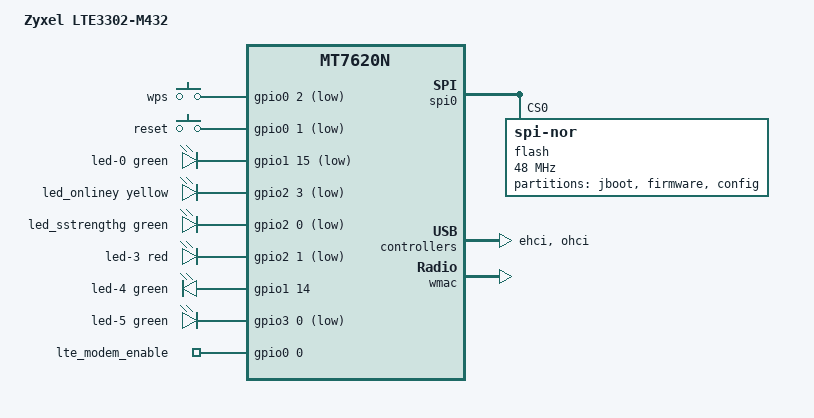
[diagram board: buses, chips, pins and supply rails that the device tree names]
// SPDX-License-Identifier: GPL-2.0-or-later
#include "mt7620n.dtsi"

#include <dt-bindings/gpio/gpio.h>
#include <dt-bindings/input/input.h>
#include <dt-bindings/leds/common.h>
#include <dt-bindings/mtd/partitions/uimage.h>

/ {
	compatible = "zyxel,lte3302", "ralink,mt7620n-soc";
	model = "Zyxel LTE3302-M432";

	aliases {
		led-boot = &led_sstrengthg;
		led-failsafe = &led_onliney;
	};

	keys {
		compatible = "gpio-keys";

		wps {
			label = "wps";
			gpios = <&gpio0 2 GPIO_ACTIVE_LOW>;
			linux,code = <KEY_WPS_BUTTON>;
		};

		reset {
			label = "reset";
			gpios = <&gpio0 1 GPIO_ACTIVE_LOW>;
			linux,code = <KEY_RESTART>;
		};
	};

	leds {
		compatible = "gpio-leds";

		led-0 {
			color = <LED_COLOR_ID_GREEN>;
			function = LED_FUNCTION_WAN_ONLINE;
			gpios = <&gpio1 15 GPIO_ACTIVE_LOW>;
		};

		led_onliney: led-1 {
			color = <LED_COLOR_ID_YELLOW>;
			function = LED_FUNCTION_WAN_ONLINE;
			gpios = <&gpio2 3 GPIO_ACTIVE_LOW>;
		};

		led_sstrengthg: led-2 {
			color = <LED_COLOR_ID_GREEN>;
			function = LED_FUNCTION_MOBILE;
			gpios = <&gpio2 0 GPIO_ACTIVE_LOW>;
		};

		led-3 {
			color = <LED_COLOR_ID_RED>;
			function = LED_FUNCTION_MOBILE;
			gpios = <&gpio2 1 GPIO_ACTIVE_LOW>;
		};

		led-4 {
			color = <LED_COLOR_ID_GREEN>;
			function = LED_FUNCTION_LAN;
			gpios = <&gpio1 14 GPIO_ACTIVE_HIGH>;
		};

		led-5 {
			color = <LED_COLOR_ID_GREEN>;
			function = LED_FUNCTION_WLAN;
			gpios = <&gpio3 0 GPIO_ACTIVE_LOW>;
			linux,default-trigger = "phy0tpt";
		};
	};

	gpio_export {
		compatible = "gpio-export";

		lte_modem_enable {
			gpio-export,name = "lte_modem_enable";
			gpio-export,output = <1>;
			gpios = <&gpio0 0 GPIO_ACTIVE_HIGH>;
		};
	};
};

&gpio1 {
	status = "okay";
};

&gpio2 {
	status = "okay";
};

&gpio3 {
	status = "okay";
};

&spi0 {
	status = "okay";

	flash@0 {
		compatible = "jedec,spi-nor";
		reg = <0>;
		spi-max-frequency = <48000000>;

		partitions {
			compatible = "fixed-partitions";
			#address-cells = <1>;
			#size-cells = <1>;

			partition@0 {
				label = "jboot";
				reg = <0x0 0x10000>;
				read-only;
			};

			partition@10000 {
				compatible = "openwrt,uimage", "denx,uimage";
				openwrt,ih-magic = <IH_MAGIC_OKLI>; 
				openwrt,offset = <0x10000>;
				label = "firmware";
				reg = <0x10000 0xfe0000>;
			};
			
			partition@ff0000 {
				label = "config";
				reg = <0xff0000 0x10000>;
				read-only;
				nvmem-layout {
					compatible = "fixed-layout";
					#address-cells = <1>;
					#size-cells = <1>;

					eeprom_config: eeprom@e07c {
						reg = <0xe07c 0x200>;
					};

					macaddr_config: macaddr@e2cd {
						compatible = "mac-base";
						reg = <0xc2cd 0x6>;
						#nvmem-cell-cells = <1>;
					};
				};
			};
		};
	};
};

&ehci {
	status = "okay";
};

&ohci {
	status = "okay";
};

&wmac {
	nvmem-cells = <&eeprom_config>;
	nvmem-cell-names = "eeprom";
};

&ethernet {
	nvmem-cells = <&macaddr_config 0>;
	nvmem-cell-names = "mac-address";
};

&state_default {
	default {
		groups = "spi refclk", "i2c", "ephy", "wled";
		function = "gpio";
	};
};
